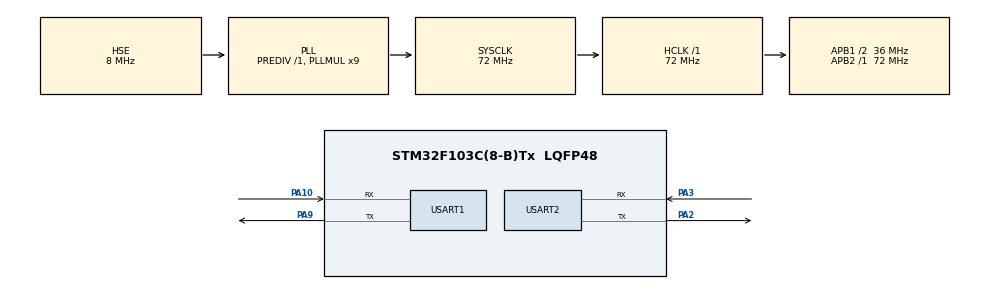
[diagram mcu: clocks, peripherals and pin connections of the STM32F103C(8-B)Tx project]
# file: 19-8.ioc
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Mcu.Family=STM32F1
Mcu.Name=STM32F103C(8-B)Tx
Mcu.Package=LQFP48
NVIC.PriorityGroup=NVIC_PRIORITYGROUP_4
NVIC.USART1_IRQn=true\:0\:0\:false\:false\:true\:true\:true\:true
NVIC.USART2_IRQn=true\:0\:0\:false\:false\:true\:true\:true\:true
PA10.Mode=Asynchronous
PA10.Signal=USART1_RX
PA13.Mode=Serial_Wire
PA13.Signal=SYS_JTMS-SWDIO
PA14.Mode=Serial_Wire
PA14.Signal=SYS_JTCK-SWCLK
PA2.Mode=Asynchronous
PA2.Signal=USART2_TX
PA3.Mode=Asynchronous
PA3.Signal=USART2_RX
PA9.Mode=Asynchronous
PA9.Signal=USART1_TX
PC14-OSC32_IN.Mode=LSE-External-Oscillator
PC14-OSC32_IN.Signal=RCC_OSC32_IN
PC15-OSC32_OUT.Mode=LSE-External-Oscillator
PC15-OSC32_OUT.Signal=RCC_OSC32_OUT
PD0-OSC_IN.Mode=HSE-External-Oscillator
PD0-OSC_IN.Signal=RCC_OSC_IN
PD1-OSC_OUT.Mode=HSE-External-Oscillator
PD1-OSC_OUT.Signal=RCC_OSC_OUT
ProjectManager.HeapSize=0x200
ProjectManager.StackSize=0x400
ProjectManager.TargetToolchain=MDK-ARM V5.32
RCC.AHBFreq_Value=72000000
RCC.APB1CLKDivider=RCC_HCLK_DIV2
RCC.APB1Freq_Value=36000000
RCC.APB1TimFreq_Value=72000000
RCC.APB2Freq_Value=72000000
RCC.APB2TimFreq_Value=72000000
RCC.HCLKFreq_Value=72000000
RCC.PLLMUL=RCC_PLL_MUL9
RCC.PLLSourceVirtual=RCC_PLLSOURCE_HSE
RCC.SYSCLKFreq_VALUE=72000000
RCC.SYSCLKSource=RCC_SYSCLKSOURCE_PLLCLK
RCC.USBFreq_Value=72000000
USART1.VirtualMode=VM_ASYNC
USART2.VirtualMode=VM_ASYNC
board=custom

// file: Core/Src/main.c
/* USER CODE BEGIN Header */
/**
  ******************************************************************************
  * @file           : main.c
  * @brief          : Main program body
  ******************************************************************************
  * @attention
  *
  * Copyright (c) 2026 STMicroelectronics.
  * All rights reserved.
  *
  * This software is licensed under terms that can be found in the LICENSE file
  * in the root directory of this software component.
  * If no LICENSE file comes with this software, it is provided AS-IS.
  *
  ******************************************************************************
  */
/* USER CODE END Header */
#include "main.h"
#include "usart.h"
#include "gpio.h"

/* USER CODE BEGIN Includes */
#include <stdio.h>
#include <string.h>
/* USER CODE END Includes */

/* USER CODE BEGIN PV */
#define LENGTH 64//定义缓冲区的大小
uint8_t RxBuff1[LENGTH];//定义串口1的缓冲区
uint8_t RxBuff2[LENGTH];//定义串口2的缓冲区
/* USER CODE END PV */

void SystemClock_Config(void);
/* USER CODE BEGIN PFP */
void USART_SendString(UART_HandleTypeDef*huart,char *str);
/* USER CODE END PFP */

int main(void)
{

  /* MCU Configuration--------------------------------------------------------*/

  /* Reset of all peripherals, Initializes the Flash interface and the Systick. */
  HAL_Init();

  /* Configure the system clock */
  SystemClock_Config();

  /* Initialize all configured peripherals */
  MX_GPIO_Init();
  MX_USART1_UART_Init();
  MX_USART2_UART_Init();
  /* USER CODE BEGIN 2 */
	HAL_UARTEx_ReceiveToIdle_IT(&huart1,RxBuff1,LENGTH);//开启串口1的接收中断
	HAL_UARTEx_ReceiveToIdle_IT(&huart2,RxBuff2,LENGTH);//开启串口2的接收中断
  /* USER CODE END 2 */

  /* Infinite loop */
  while (1)
  {

  }
}

void SystemClock_Config(void)
{
  RCC_OscInitTypeDef RCC_OscInitStruct = {0};
  RCC_ClkInitTypeDef RCC_ClkInitStruct = {0};

  /** Initializes the RCC Oscillators according to the specified parameters
  * in the RCC_OscInitTypeDef structure.
  */
  RCC_OscInitStruct.OscillatorType = RCC_OSCILLATORTYPE_HSE;
  RCC_OscInitStruct.HSEState = RCC_HSE_ON;
  RCC_OscInitStruct.HSEPredivValue = RCC_HSE_PREDIV_DIV1;
  RCC_OscInitStruct.HSIState = RCC_HSI_ON;
  RCC_OscInitStruct.PLL.PLLState = RCC_PLL_ON;
  RCC_OscInitStruct.PLL.PLLSource = RCC_PLLSOURCE_HSE;
  RCC_OscInitStruct.PLL.PLLMUL = RCC_PLL_MUL9;
  if (HAL_RCC_OscConfig(&RCC_OscInitStruct) != HAL_OK)
  {
    Error_Handler();
  }

  /** Initializes the CPU, AHB and APB buses clocks
  */
  RCC_ClkInitStruct.ClockType = RCC_CLOCKTYPE_HCLK|RCC_CLOCKTYPE_SYSCLK
                              |RCC_CLOCKTYPE_PCLK1|RCC_CLOCKTYPE_PCLK2;
  RCC_ClkInitStruct.SYSCLKSource = RCC_SYSCLKSOURCE_PLLCLK;
  RCC_ClkInitStruct.AHBCLKDivider = RCC_SYSCLK_DIV1;
  RCC_ClkInitStruct.APB1CLKDivider = RCC_HCLK_DIV2;
  RCC_ClkInitStruct.APB2CLKDivider = RCC_HCLK_DIV1;

  if (HAL_RCC_ClockConfig(&RCC_ClkInitStruct, FLASH_LATENCY_2) != HAL_OK)
  {
    Error_Handler();
  }
}

/* USER CODE BEGIN 4 */
void HAL_UARTEx_RxEventCallback(UART_HandleTypeDef *huart, uint16_t Size)
{
	if(huart -> Instance == USART1)
	{
		USART_SendString(&huart1,"【USART1 收到数据】-> 正在转发到USART2...\r\n");

		HAL_UART_Transmit(&huart2, RxBuff1 ,Size,HAL_MAX_DELAY);//回显发送的数据,使用阻断发送，不会被覆盖

		USART_SendString(&huart1,"【USART1】 数据发送成功\r\n");

		HAL_UARTEx_ReceiveToIdle_IT(&huart1,RxBuff1,LENGTH);//使能接收中断

	}else if(huart -> Instance == USART2)
	{
		USART_SendString(&huart1,"【USART2 收到数据】-> 正在转发到USART1...\r\n");

		HAL_UART_Transmit(&huart1, RxBuff2 ,Size,HAL_MAX_DELAY);//回显发送的数据，使用阻断发送，不会被覆盖

		USART_SendString(&huart1,"【USART2】 数据发送成功\r\n");

		HAL_UARTEx_ReceiveToIdle_IT(&huart2,RxBuff2,LENGTH);//使能接收中断

	}
}

void USART_SendString(UART_HandleTypeDef*huart,char *str)
{
	while(*str)//当前字符不是结束符“\0
	{
		HAL_UART_Transmit(huart,(uint8_t*)str,1,HAL_MAX_DELAY);//阻塞式串口发送
		str ++;
	}
}
/* USER CODE END 4 */

void Error_Handler(void)
{
  __disable_irq();
  while (1)
  {
  }
}
